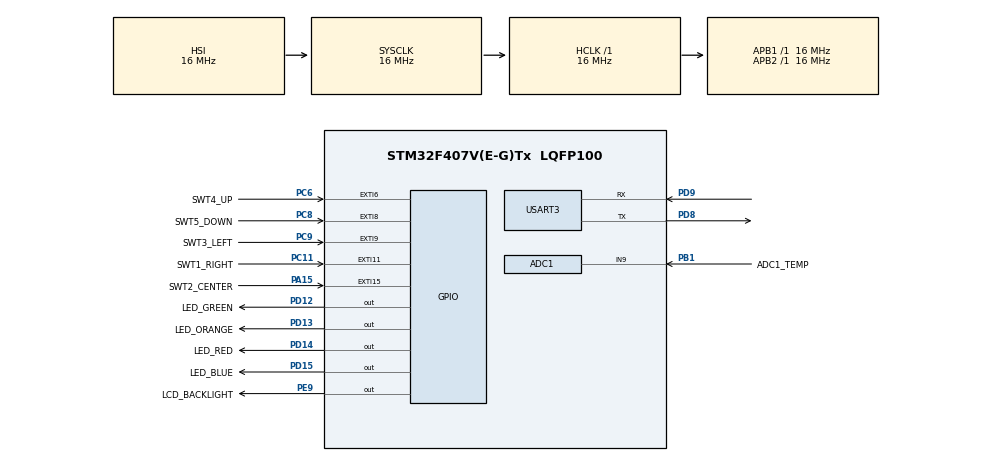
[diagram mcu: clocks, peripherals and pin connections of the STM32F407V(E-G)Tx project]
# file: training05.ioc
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ADC1.Channel-0\#ChannelRegularConversion=ADC_CHANNEL_9
ADC1.Channel-1\#ChannelRegularConversion=ADC_CHANNEL_VREFINT
ADC1.ContinuousConvMode=DISABLE
ADC1.DMAContinuousRequests=ENABLE
ADC1.EOCSelection=ADC_EOC_SEQ_CONV
ADC1.ExternalTrigConv=ADC_EXTERNALTRIGCONV_T3_TRGO
ADC1.NbrOfConversion=2
ADC1.NbrOfConversionFlag=1
ADC1.Rank-0\#ChannelRegularConversion=1
ADC1.Rank-1\#ChannelRegularConversion=2
ADC1.SamplingTime-0\#ChannelRegularConversion=ADC_SAMPLETIME_480CYCLES
ADC1.SamplingTime-1\#ChannelRegularConversion=ADC_SAMPLETIME_480CYCLES
ADC1.ScanConvMode=ENABLE
ADC1.master=1
Dma.ADC1.0.Direction=DMA_PERIPH_TO_MEMORY
Dma.ADC1.0.FIFOMode=DMA_FIFOMODE_DISABLE
Dma.ADC1.0.Instance=DMA2_Stream0
Dma.ADC1.0.MemDataAlignment=DMA_MDATAALIGN_HALFWORD
Dma.ADC1.0.MemInc=DMA_MINC_ENABLE
Dma.ADC1.0.Mode=DMA_NORMAL
Dma.ADC1.0.PeriphDataAlignment=DMA_PDATAALIGN_HALFWORD
Dma.ADC1.0.PeriphInc=DMA_PINC_DISABLE
Dma.ADC1.0.Priority=DMA_PRIORITY_LOW
Dma.Request0=ADC1
Dma.Request1=USART3_TX
Dma.USART3_TX.1.Direction=DMA_MEMORY_TO_PERIPH
Dma.USART3_TX.1.FIFOMode=DMA_FIFOMODE_DISABLE
Dma.USART3_TX.1.Instance=DMA1_Stream3
Dma.USART3_TX.1.MemDataAlignment=DMA_MDATAALIGN_BYTE
Dma.USART3_TX.1.MemInc=DMA_MINC_ENABLE
Dma.USART3_TX.1.Mode=DMA_NORMAL
Dma.USART3_TX.1.PeriphDataAlignment=DMA_PDATAALIGN_BYTE
Dma.USART3_TX.1.PeriphInc=DMA_PINC_DISABLE
Dma.USART3_TX.1.Priority=DMA_PRIORITY_LOW
Mcu.Family=STM32F4
Mcu.Name=STM32F407V(E-G)Tx
Mcu.Package=LQFP100
Mcu.UserConstants=SAMPLING_RATE,100;TIM3_PRESCALER,160;TIM3_PERIOD,(TIM34_CLK / (TIM3_PRESCALER * SAMPLING_RATE));TIM34_CLK,16000000;ENABLE_VREF_CORRECTION,1;ADC_CHANNELS,2
NVIC.DMA1_Stream3_IRQn=true\:0\:0\:false\:false\:true\:false\:true
NVIC.DMA2_Stream0_IRQn=true\:0\:0\:false\:false\:true\:false\:true
NVIC.EXTI15_10_IRQn=true\:0\:0\:false\:false\:true\:true\:true
NVIC.EXTI9_5_IRQn=true\:0\:0\:false\:false\:true\:true\:true
NVIC.PriorityGroup=NVIC_PRIORITYGROUP_4
NVIC.USART3_IRQn=true\:0\:0\:false\:false\:true\:true\:true
PA13.Mode=Trace_Asynchronous_SW
PA13.Signal=SYS_JTMS-SWDIO
PA14.Mode=Trace_Asynchronous_SW
PA14.Signal=SYS_JTCK-SWCLK
PA15.GPIO_Label=SWT2_CENTER
PA15.GPIO_ModeDefaultEXTI=GPIO_MODE_IT_FALLING
PA15.Signal=GPXTI15
PB1.GPIO_Label=ADC1_TEMP
PB1.Signal=ADCx_IN9
PB3.Mode=Trace_Asynchronous_SW
PB3.Signal=SYS_JTDO-SWO
PC11.GPIO_Label=SWT1_RIGHT
PC11.GPIO_ModeDefaultEXTI=GPIO_MODE_IT_FALLING
PC11.Signal=GPXTI11
PC6.GPIO_Label=SWT4_UP
PC6.GPIO_ModeDefaultEXTI=GPIO_MODE_IT_FALLING
PC6.Signal=GPXTI6
PC8.GPIO_Label=SWT5_DOWN
PC8.GPIO_ModeDefaultEXTI=GPIO_MODE_IT_FALLING
PC8.Signal=GPXTI8
PC9.GPIO_Label=SWT3_LEFT
PC9.GPIO_ModeDefaultEXTI=GPIO_MODE_IT_FALLING
PC9.Signal=GPXTI9
PD12.GPIO_Label=LED_GREEN
PD12.GPIO_PuPd=GPIO_PULLDOWN
PD12.Signal=GPIO_Output
PD13.GPIO_Label=LED_ORANGE
PD13.GPIO_PuPd=GPIO_PULLDOWN
PD13.Signal=GPIO_Output
PD14.GPIO_Label=LED_RED
PD14.GPIO_PuPd=GPIO_PULLDOWN
PD14.Signal=GPIO_Output
PD15.GPIO_Label=LED_BLUE
PD15.GPIO_PuPd=GPIO_PULLDOWN
PD15.Signal=GPIO_Output
PD8.Mode=Asynchronous
PD8.Signal=USART3_TX
PD9.Mode=Asynchronous
PD9.Signal=USART3_RX
PE9.GPIO_Label=LCD_BACKLIGHT
PE9.GPIO_ModeDefaultOutputPP=GPIO_MODE_OUTPUT_PP
PE9.Signal=GPIO_Output
PH0-OSC_IN.Mode=HSE-External-Oscillator
PH0-OSC_IN.Signal=RCC_OSC_IN
PH1-OSC_OUT.Mode=HSE-External-Oscillator
PH1-OSC_OUT.Signal=RCC_OSC_OUT
ProjectManager.HeapSize=0x200
ProjectManager.StackSize=0x400
ProjectManager.TargetToolchain=STM32CubeIDE
RCC.48MHZClocksFreq_Value=48000000
RCC.AHBFreq_Value=16000000
RCC.APB1Freq_Value=16000000
RCC.APB1TimFreq_Value=16000000
RCC.APB2Freq_Value=16000000
RCC.APB2TimFreq_Value=16000000
RCC.CortexFreq_Value=16000000
RCC.HCLKFreq_Value=16000000
RCC.HSE_VALUE=8000000
RCC.HSI_VALUE=16000000
RCC.LSE_VALUE=32768
RCC.PLLM=8
RCC.PLLSourceVirtual=RCC_PLLSOURCE_HSE
RCC.SYSCLKFreq_VALUE=16000000
RCC.VCOOutputFreq_Value=192000000
SH.ADCx_IN9.0=ADC1_IN9,IN9
TIM3.Period=TIM3_PERIOD-1
TIM3.Prescaler=TIM3_PRESCALER-1
TIM3.TIM_MasterOutputTrigger=TIM_TRGO_UPDATE
USART3.VirtualMode=VM_ASYNC
VP_ADC1_Vref_Input.Mode=IN-Vrefint
VP_TIM3_VS_ClockSourceINT.Mode=Internal
board=custom

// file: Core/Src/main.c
/* USER CODE BEGIN Header */
/**
  ******************************************************************************
  * @file           : main.c
  * @brief          : Main program body
  ******************************************************************************
  * @attention
  *
  * <h2><center>&copy; Copyright (c) 2021 STMicroelectronics.
  * All rights reserved.</center></h2>
  *
  * This software component is licensed by ST under BSD 3-Clause license,
  * the "License"; You may not use this file except in compliance with the
  * License. You may obtain a copy of the License at:
  *                        opensource.org/licenses/BSD-3-Clause
  *
  ******************************************************************************
  */

/* USER CODE END Header */
#include "main.h"

/* USER CODE BEGIN Includes */
#include <stdio.h>
#include <string.h>
#include <ctype.h>
/* USER CODE END Includes */

/* USER CODE BEGIN PTD */
typedef enum AdcBufferStatus {
	ADC_BUFFER_EMPTY = 0,
	ADC_BUFFER_FULL
} AdcBufferStatus;
/* USER CODE END PTD */

/* USER CODE BEGIN PD */

// Maximum allowed value at 3V reference is 175. Higher value leads to calculation overflow
#define ADC_FILTER_SIZE 64
#define ADC_BUFFER_SIZE ADC_FILTER_SIZE
#define CALIBRATION_VOLTAGE 3300

#define T_MEASURE_PERIOD 5000 // Temperature measure period in ms

#define UART_TX_SIZE 128 // UART TX buffer size for DMA exchange

#define LEDS_COUNT 4
/* USER CODE END PD */

ADC_HandleTypeDef hadc1;
DMA_HandleTypeDef hdma_adc1;

TIM_HandleTypeDef htim3;

UART_HandleTypeDef huart3;
DMA_HandleTypeDef hdma_usart3_tx;

/* USER CODE BEGIN PV */
int32_t cfgReferenceVoltage = 3000;
const uint16_t *const vRefCalibration = (const uint16_t *const)0x1fff7a2a;

volatile AdcBufferStatus adcBufferStatus = ADC_BUFFER_EMPTY;
uint16_t adcValues[ADC_BUFFER_SIZE][ADC_CHANNELS];

int32_t extTemperature = 0; // External temperature, 0.1 C
uint32_t lastTemperatureTick = 0;

char uartTXbuf[UART_TX_SIZE] = {0};
volatile uint8_t uartTXbusy = 0;

char rData;

uint8_t cmdLedToggle[LEDS_COUNT] = {0};
GPIO_TypeDef *const ledsGPIO[LEDS_COUNT] = {LED_BLUE_GPIO_Port, LED_ORANGE_GPIO_Port, LED_RED_GPIO_Port, LED_GREEN_GPIO_Port};
const uint16_t ledsPins[LEDS_COUNT] = {LED_BLUE_Pin, LED_ORANGE_Pin, LED_RED_Pin, LED_GREEN_Pin};
const char *const ledsNames[LEDS_COUNT] = {"Blue", "Orange", "Red", "Green"};
const char *const stateNames[2] = {"off", "on"};
/* USER CODE END PV */

void SystemClock_Config(void);
static void MX_GPIO_Init(void);
static void MX_DMA_Init(void);
static void MX_ADC1_Init(void);
static void MX_TIM3_Init(void);
static void MX_USART3_UART_Init(void);
/* USER CODE BEGIN PFP */
static int32_t adcBuf2Voltages(const uint16_t *adcBuffer, int32_t refV, int32_t chVoltages[ADC_CHANNELS]);
static int32_t adcProcess(int32_t *vRef);
/* USER CODE END PFP */

/* USER CODE BEGIN 0 */
/**
 * @brief System function to standard output with output to UART3
 * @param file stream number
 * @param ptr data buffer for output
 * @param len length of data in buffer
 * @retval count of writed data
 */
int _write(int file, char* ptr, int len) {
	while (uartTXbusy);
	if (len > UART_TX_SIZE)
		len = UART_TX_SIZE;
	strncpy(uartTXbuf, ptr, len);
	HAL_UART_Transmit_DMA(&huart3, (uint8_t*)uartTXbuf, len);
	uartTXbusy = 1;
	return len;
}

/**
  * @brief  Tx Transfer completed callbacks.
  * @param  huart  Pointer to a UART_HandleTypeDef structure that contains
  *                the configuration information for the specified UART module.
  * @retval None
  */
void HAL_UART_TxCpltCallback(UART_HandleTypeDef *huart)
{
  if (huart == &huart3) {
	  uartTXbusy = 0;
  }
}

/**
  * @brief  Regular conversion complete callback in non blocking mode
  * @param  hadc pointer to a ADC_HandleTypeDef structure that contains
  *         the configuration information for the specified ADC.
  * @retval None
  */
void HAL_ADC_ConvCpltCallback(ADC_HandleTypeDef* hadc)
{
	adcBufferStatus = ADC_BUFFER_FULL;
	HAL_TIM_Base_Stop(&htim3);
}

/**
 * Convert voltage to external board temperature
 * @param voltage measured voltage in 0.1 mV
 * @retval temperature in 0.1 C
 */
static int32_t mv2tExternal(int32_t voltage) {
	return -voltage / 20 + 1010;
}

/**
 * Convert ADC DMA buffer values to voltages via averaging
 * @param adcBuffer point to ADC DMA buffer as uint16_t [ADC_FILTER_SIZE][ADC_CHANNELS]
 * @param refV reference voltage
 * @param chVoltages array of resulted values in 0.1 mV
 * @retval updated reference voltage
 */
static int32_t adcBuf2Voltages(const uint16_t *adcBuffer, int32_t refV, int32_t chVoltages[ADC_CHANNELS]) {
	for (int i = 0; i < ADC_FILTER_SIZE; i++)
	  for (int j = 0; j < ADC_CHANNELS; j++)
		  chVoltages[j] += *adcBuffer++;

	#if ENABLE_VREF_CORRECTION == 1
	if (chVoltages[ADC_CHANNELS-1] > 0)
		refV = CALIBRATION_VOLTAGE * ADC_FILTER_SIZE * (*vRefCalibration) / chVoltages[ADC_CHANNELS-1];
	#endif // ENABLE_VREF_CORRECTION == 1
	for (int i = 0; i < ADC_CHANNELS; i++)
	  chVoltages[i] = (chVoltages[i] * refV / ADC_FILTER_SIZE * 10) >> 12; // average values is measured and averaged ADC_ch * 10
	return refV;
}

/**
 * Return external sensor temperature
 * @param vRef pointer to reference voltage
 * @retval temperature from external sensor in 0.1 C
 */
static int32_t adcProcess(int32_t *vRef) {
	uint16_t *ptrBuf = (uint16_t*)adcValues;
	int32_t chVoltages[ADC_CHANNELS] = {0};
	*vRef = adcBuf2Voltages(ptrBuf, *vRef, chVoltages);
	adcBufferStatus = ADC_BUFFER_EMPTY;
	return extTemperature = mv2tExternal(chVoltages[0]);
}

/**
 * External interrupt callback for SWT buttons
 *
 * SWT1 - right - blue
 * SWT3 - left - orange
 * SWT4 - top -red
 * SWT5 - bottom - green
 */
void HAL_GPIO_EXTI_Callback(uint16_t GPIO_Pin)
{
	switch(GPIO_Pin) {
	case SWT1_RIGHT_Pin:
		cmdLedToggle[0]++;
		break;
	case SWT3_LEFT_Pin:
		cmdLedToggle[1]++;
		break;
	case SWT4_UP_Pin:
		cmdLedToggle[2]++;
		break;
	case SWT5_DOWN_Pin:
		cmdLedToggle[3]++;
		break;
	}
}

/**
 * Get toggle commands from UART data stream
 * @param haurt pointer to UARD handler
 * @param cmdLedToggle array of toggle commands
 * @retval UART receive status
 */
HAL_StatusTypeDef getUartCmd(UART_HandleTypeDef *huart, uint8_t cmdLedToggle[LEDS_COUNT]) {
	// UART commands recognition
	char rData = '\0';
	HAL_StatusTypeDef receiveStatus = HAL_UART_Receive(&*huart,	(uint8_t*) &rData, 1, 1);
	if (receiveStatus == HAL_OK) {
		switch (rData) {
		case 'd':
		case 'D':
			cmdLedToggle[0]++;
			break;
		case 'a':
		case 'A':
			cmdLedToggle[1]++;
			break;
		case 'w':
		case 'W':
			cmdLedToggle[2]++;
			break;
		case 's':
		case 'S':
			cmdLedToggle[3]++;
			break;
		default:
			if (isprint(rData))
				printf("Unrecognised key \"%c\"\r\n", rData);
			else
				printf("Unrecognised key [0x%02x]\r\n", rData);
		}
	}
	return receiveStatus;
}

/**
 * Toggle LEDs according commands from UART and buttons
 * @param cmdLedToggle toggle commands counter for each led
 * @retval None
 */
void toggleLeds(uint8_t cmdLedToggle[LEDS_COUNT]) {
	// Leds switching according commands
	for (int i = 0; i < LEDS_COUNT; i++) {
		if (cmdLedToggle[i] > 0) {
			if (cmdLedToggle[i] & 0x01)
				HAL_GPIO_TogglePin(ledsGPIO[i], ledsPins[i]);

			uint8_t state =
					(HAL_GPIO_ReadPin(ledsGPIO[i], ledsPins[i]) == GPIO_PIN_SET) ?
							1 : 0;
			printf("%s led is %s\r\n", ledsNames[i], stateNames[state]);
			cmdLedToggle[i] = 0;
		}
	}
}

/* USER CODE END 0 */

int main(void)
{

  /* MCU Configuration--------------------------------------------------------*/

  /* Reset of all peripherals, Initializes the Flash interface and the Systick. */
  HAL_Init();

  /* Configure the system clock */
  SystemClock_Config();

  /* Initialize all configured peripherals */
  MX_GPIO_Init();
  MX_DMA_Init();
  MX_ADC1_Init();
  MX_TIM3_Init();
  MX_USART3_UART_Init();

  /* Infinite loop */
  /* USER CODE BEGIN WHILE */
  while (1)
  {
	  // Temperature measurement start
	  uint32_t nowTick = HAL_GetTick();
	  if ((nowTick - lastTemperatureTick) >= T_MEASURE_PERIOD) {
		  lastTemperatureTick = nowTick;
		  HAL_ADC_Start_DMA(&hadc1, (uint32_t*)adcValues, ADC_CHANNELS*ADC_BUFFER_SIZE);
		  HAL_TIM_Base_Start(&htim3);
	  }

	  // Measurement conversion and output
	  if (adcBufferStatus == ADC_BUFFER_FULL) {
		  extTemperature = adcProcess(&cfgReferenceVoltage);
		  printf("T = %d.%d C\r\n", (int)(extTemperature / 10), (int)(extTemperature % 10));
	  }

	  // UART commands recognition
      getUartCmd(&huart3, cmdLedToggle);
	  // Leds switching according commands
      toggleLeds(cmdLedToggle);

    /* USER CODE END WHILE */

  }
}

void SystemClock_Config(void)
{
  RCC_OscInitTypeDef RCC_OscInitStruct = {0};
  RCC_ClkInitTypeDef RCC_ClkInitStruct = {0};

  /** Configure the main internal regulator output voltage
  */
  __HAL_RCC_PWR_CLK_ENABLE();
  __HAL_PWR_VOLTAGESCALING_CONFIG(PWR_REGULATOR_VOLTAGE_SCALE1);
  /** Initializes the RCC Oscillators according to the specified parameters
  * in the RCC_OscInitTypeDef structure.
  */
  RCC_OscInitStruct.OscillatorType = RCC_OSCILLATORTYPE_HSI;
  RCC_OscInitStruct.HSIState = RCC_HSI_ON;
  RCC_OscInitStruct.HSICalibrationValue = RCC_HSICALIBRATION_DEFAULT;
  RCC_OscInitStruct.PLL.PLLState = RCC_PLL_NONE;
  if (HAL_RCC_OscConfig(&RCC_OscInitStruct) != HAL_OK)
  {
    Error_Handler();
  }
  /** Initializes the CPU, AHB and APB buses clocks
  */
  RCC_ClkInitStruct.ClockType = RCC_CLOCKTYPE_HCLK|RCC_CLOCKTYPE_SYSCLK
                              |RCC_CLOCKTYPE_PCLK1|RCC_CLOCKTYPE_PCLK2;
  RCC_ClkInitStruct.SYSCLKSource = RCC_SYSCLKSOURCE_HSI;
  RCC_ClkInitStruct.AHBCLKDivider = RCC_SYSCLK_DIV1;
  RCC_ClkInitStruct.APB1CLKDivider = RCC_HCLK_DIV1;
  RCC_ClkInitStruct.APB2CLKDivider = RCC_HCLK_DIV1;

  if (HAL_RCC_ClockConfig(&RCC_ClkInitStruct, FLASH_LATENCY_0) != HAL_OK)
  {
    Error_Handler();
  }
}

static void MX_ADC1_Init(void)
{

  ADC_ChannelConfTypeDef sConfig = {0};

  /** Configure the global features of the ADC (Clock, Resolution, Data Alignment and number of conversion)
  */
  hadc1.Instance = ADC1;
  hadc1.Init.ClockPrescaler = ADC_CLOCK_SYNC_PCLK_DIV2;
  hadc1.Init.Resolution = ADC_RESOLUTION_12B;
  hadc1.Init.ScanConvMode = ENABLE;
  hadc1.Init.ContinuousConvMode = DISABLE;
  hadc1.Init.DiscontinuousConvMode = DISABLE;
  hadc1.Init.ExternalTrigConvEdge = ADC_EXTERNALTRIGCONVEDGE_RISING;
  hadc1.Init.ExternalTrigConv = ADC_EXTERNALTRIGCONV_T3_TRGO;
  hadc1.Init.DataAlign = ADC_DATAALIGN_RIGHT;
  hadc1.Init.NbrOfConversion = 2;
  hadc1.Init.DMAContinuousRequests = ENABLE;
  hadc1.Init.EOCSelection = ADC_EOC_SEQ_CONV;
  if (HAL_ADC_Init(&hadc1) != HAL_OK)
  {
    Error_Handler();
  }
  /** Configure for the selected ADC regular channel its corresponding rank in the sequencer and its sample time.
  */
  sConfig.Channel = ADC_CHANNEL_9;
  sConfig.Rank = 1;
  sConfig.SamplingTime = ADC_SAMPLETIME_480CYCLES;
  if (HAL_ADC_ConfigChannel(&hadc1, &sConfig) != HAL_OK)
  {
    Error_Handler();
  }
  /** Configure for the selected ADC regular channel its corresponding rank in the sequencer and its sample time.
  */
  sConfig.Channel = ADC_CHANNEL_VREFINT;
  sConfig.Rank = 2;
  if (HAL_ADC_ConfigChannel(&hadc1, &sConfig) != HAL_OK)
  {
    Error_Handler();
  }

}

static void MX_TIM3_Init(void)
{

  TIM_ClockConfigTypeDef sClockSourceConfig = {0};
  TIM_MasterConfigTypeDef sMasterConfig = {0};

  htim3.Instance = TIM3;
  htim3.Init.Prescaler = TIM3_PRESCALER-1;
  htim3.Init.CounterMode = TIM_COUNTERMODE_UP;
  htim3.Init.Period = TIM3_PERIOD-1;
  htim3.Init.ClockDivision = TIM_CLOCKDIVISION_DIV1;
  htim3.Init.AutoReloadPreload = TIM_AUTORELOAD_PRELOAD_DISABLE;
  if (HAL_TIM_Base_Init(&htim3) != HAL_OK)
  {
    Error_Handler();
  }
  sClockSourceConfig.ClockSource = TIM_CLOCKSOURCE_INTERNAL;
  if (HAL_TIM_ConfigClockSource(&htim3, &sClockSourceConfig) != HAL_OK)
  {
    Error_Handler();
  }
  sMasterConfig.MasterOutputTrigger = TIM_TRGO_UPDATE;
  sMasterConfig.MasterSlaveMode = TIM_MASTERSLAVEMODE_DISABLE;
  if (HAL_TIMEx_MasterConfigSynchronization(&htim3, &sMasterConfig) != HAL_OK)
  {
    Error_Handler();
  }

}

static void MX_USART3_UART_Init(void)
{

  huart3.Instance = USART3;
  huart3.Init.BaudRate = 115200;
  huart3.Init.WordLength = UART_WORDLENGTH_8B;
  huart3.Init.StopBits = UART_STOPBITS_1;
  huart3.Init.Parity = UART_PARITY_NONE;
  huart3.Init.Mode = UART_MODE_TX_RX;
  huart3.Init.HwFlowCtl = UART_HWCONTROL_NONE;
  huart3.Init.OverSampling = UART_OVERSAMPLING_16;
  if (HAL_UART_Init(&huart3) != HAL_OK)
  {
    Error_Handler();
  }

}

static void MX_DMA_Init(void)
{

  /* DMA controller clock enable */
  __HAL_RCC_DMA2_CLK_ENABLE();
  __HAL_RCC_DMA1_CLK_ENABLE();

  /* DMA interrupt init */
  /* DMA1_Stream3_IRQn interrupt configuration */
  HAL_NVIC_SetPriority(DMA1_Stream3_IRQn, 0, 0);
  HAL_NVIC_EnableIRQ(DMA1_Stream3_IRQn);
  /* DMA2_Stream0_IRQn interrupt configuration */
  HAL_NVIC_SetPriority(DMA2_Stream0_IRQn, 0, 0);
  HAL_NVIC_EnableIRQ(DMA2_Stream0_IRQn);

}

static void MX_GPIO_Init(void)
{
  GPIO_InitTypeDef GPIO_InitStruct = {0};

  /* GPIO Ports Clock Enable */
  __HAL_RCC_GPIOH_CLK_ENABLE();
  __HAL_RCC_GPIOB_CLK_ENABLE();
  __HAL_RCC_GPIOE_CLK_ENABLE();
  __HAL_RCC_GPIOD_CLK_ENABLE();
  __HAL_RCC_GPIOC_CLK_ENABLE();
  __HAL_RCC_GPIOA_CLK_ENABLE();

  /*Configure GPIO pin Output Level */
  HAL_GPIO_WritePin(LCD_BACKLIGHT_GPIO_Port, LCD_BACKLIGHT_Pin, GPIO_PIN_RESET);

  /*Configure GPIO pin Output Level */
  HAL_GPIO_WritePin(GPIOD, LED_GREEN_Pin|LED_ORANGE_Pin|LED_RED_Pin|LED_BLUE_Pin, GPIO_PIN_RESET);

  /*Configure GPIO pin : LCD_BACKLIGHT_Pin */
  GPIO_InitStruct.Pin = LCD_BACKLIGHT_Pin;
  GPIO_InitStruct.Mode = GPIO_MODE_OUTPUT_PP;
  GPIO_InitStruct.Pull = GPIO_NOPULL;
  GPIO_InitStruct.Speed = GPIO_SPEED_FREQ_LOW;
  HAL_GPIO_Init(LCD_BACKLIGHT_GPIO_Port, &GPIO_InitStruct);

  /*Configure GPIO pins : LED_GREEN_Pin LED_ORANGE_Pin LED_RED_Pin LED_BLUE_Pin */
  GPIO_InitStruct.Pin = LED_GREEN_Pin|LED_ORANGE_Pin|LED_RED_Pin|LED_BLUE_Pin;
  GPIO_InitStruct.Mode = GPIO_MODE_OUTPUT_PP;
  GPIO_InitStruct.Pull = GPIO_PULLDOWN;
  GPIO_InitStruct.Speed = GPIO_SPEED_FREQ_LOW;
  HAL_GPIO_Init(GPIOD, &GPIO_InitStruct);

  /*Configure GPIO pins : SWT4_UP_Pin SWT5_DOWN_Pin SWT3_LEFT_Pin SWT1_RIGHT_Pin */
  GPIO_InitStruct.Pin = SWT4_UP_Pin|SWT5_DOWN_Pin|SWT3_LEFT_Pin|SWT1_RIGHT_Pin;
  GPIO_InitStruct.Mode = GPIO_MODE_IT_FALLING;
  GPIO_InitStruct.Pull = GPIO_NOPULL;
  HAL_GPIO_Init(GPIOC, &GPIO_InitStruct);

  /*Configure GPIO pin : SWT2_CENTER_Pin */
  GPIO_InitStruct.Pin = SWT2_CENTER_Pin;
  GPIO_InitStruct.Mode = GPIO_MODE_IT_FALLING;
  GPIO_InitStruct.Pull = GPIO_NOPULL;
  HAL_GPIO_Init(SWT2_CENTER_GPIO_Port, &GPIO_InitStruct);

  /* EXTI interrupt init*/
  HAL_NVIC_SetPriority(EXTI9_5_IRQn, 0, 0);
  HAL_NVIC_EnableIRQ(EXTI9_5_IRQn);

  HAL_NVIC_SetPriority(EXTI15_10_IRQn, 0, 0);
  HAL_NVIC_EnableIRQ(EXTI15_10_IRQn);

}

void Error_Handler(void)
{
  __disable_irq();
  while (1)
  {
  }
}

/************************ (C) COPYRIGHT STMicroelectronics *****END OF FILE****/
